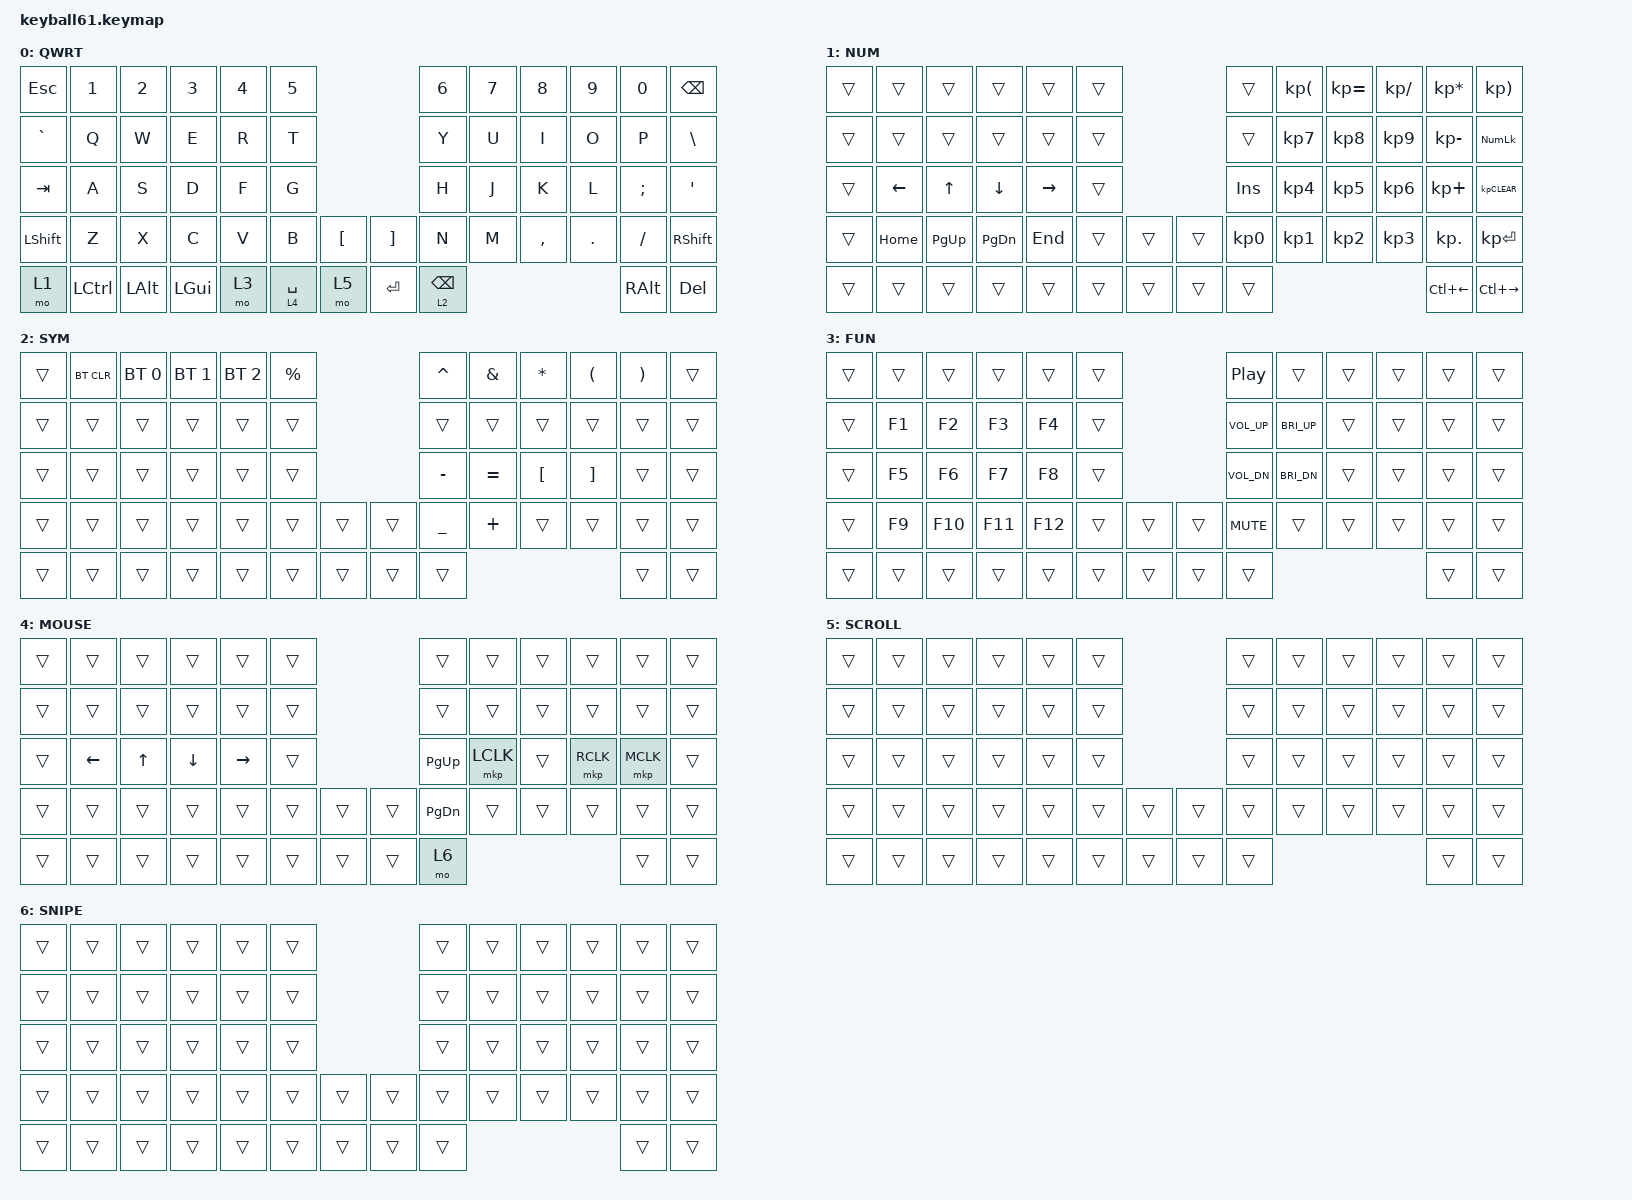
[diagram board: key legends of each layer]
#define DEFAULT 0
#define SYM     1
#define FUN     2
#define MOUSE   3
#define SCROLL  4
#define SNIPE   5

#include <behaviors/mouse_keys.dtsi>
#include <behaviors.dtsi>
#include <dt-bindings/zmk/bt.h>
#include <dt-bindings/zmk/keys.h>
#include <dt-bindings/zmk/mouse.h>

&lt {
    tapping-term-ms = <240>;
    flavor = "balanced";
    quick-tap-ms = <150>;
};

&mt {
    tapping-term-ms = <200>;
    flavor = "tap-preferred";
    quick-tap-ms = <150>;
};

/ {
    keymap {
        compatible = "zmk,keymap";

        default_layer {
            label = "QWRT";
            bindings = <
&kp ESC         &kp N1     &kp N2        &kp N3        &kp N4  &kp N5                                            &kp N6           &kp N7  &kp N8     &kp N9   &kp N0         &kp BSPC
&kp GRAVE       &kp Q      &kp W         &kp E         &kp R   &kp T                                             &kp Y            &kp U   &kp I      &kp O    &kp P          &kp BACKSLASH
&kp TAB         &kp A      &kp S         &kp D         &kp F   &kp G                                             &kp H            &kp J   &kp K      &kp L    &kp SEMI       &kp SQT
&kp LEFT_SHIFT  &kp Z      &kp X         &kp C         &kp V   &kp B        &kp LEFT_BRACKET  &kp RIGHT_BRACKET  &kp N            &kp M   &kp COMMA  &kp DOT  &kp FSLH       &kp RIGHT_SHIFT
&mo 1           &kp LCTRL  &kp LEFT_ALT  &kp LEFT_GUI  &mo 3   &lt 4 SPACE  &mo 5             &kp ENTER          &lt 2 BACKSPACE                              &kp RIGHT_ALT  &kp DELETE
            >;
        };

        number_layer {
            bindings = <
&trans  &trans    &trans     &trans     &trans     &trans                  &trans     &kp KP_LPAR  &kp KP_EQUAL  &kp KP_DIVIDE  &kp KP_MULTIPLY  &kp KP_RPAR
&trans  &trans    &trans     &trans     &trans     &trans                  &trans     &kp KP_N7    &kp KP_N8     &kp KP_N9      &kp KP_MINUS     &kp KP_NUM
&trans  &kp LEFT  &kp UP     &kp DOWN   &kp RIGHT  &trans                  &kp INS    &kp KP_N4    &kp KP_N5     &kp KP_N6      &kp KP_PLUS      &kp KP_CLEAR
&trans  &kp HOME  &kp PG_UP  &kp PG_DN  &kp END    &trans  &trans  &trans  &kp KP_N0  &kp KP_N1    &kp KP_N2     &kp KP_N3      &kp KP_DOT       &kp KP_ENTER
&trans  &trans    &trans     &trans     &trans     &trans  &trans  &trans  &trans                                               &kp LC(LEFT)     &kp LC(RIGHT)
            >;

            label = "NUM";
        };

        symbol_layer {
            label = "SYM";
            bindings = <
&trans  &bt BT_CLR       &bt BT_SEL 0  &bt BT_SEL 1  &bt BT_SEL 2  &kp PERCENT                  &kp CARET       &kp AMPERSAND  &kp ASTERISK      &kp LEFT_PARENTHESIS  &kp RIGHT_PARENTHESIS  &trans
&trans  &trans           &trans        &trans        &trans        &trans                       &trans          &trans         &trans            &trans                &trans                 &trans
&trans  &trans           &trans        &trans        &trans        &trans                       &kp MINUS       &kp EQUAL      &kp LEFT_BRACKET  &kp RIGHT_BRACKET     &trans                 &trans
&trans  &trans           &trans        &trans        &trans        &trans       &trans  &trans  &kp UNDERSCORE  &kp PLUS       &trans            &trans                &trans                 &trans
&trans  &trans           &trans        &trans        &trans        &trans       &trans  &trans  &trans                                                                 &trans                 &trans
            >;
        };

        function_layer {
            label = "FUN";
            bindings = <
&trans  &trans  &trans   &trans   &trans   &trans                  &kp C_PP      &trans        &trans  &trans  &trans  &trans
&trans  &kp F1  &kp F2   &kp F3   &kp F4   &trans                  &kp C_VOL_UP  &kp C_BRI_UP  &trans  &trans  &trans  &trans
&trans  &kp F5  &kp F6   &kp F7   &kp F8   &trans                  &kp C_VOL_DN  &kp C_BRI_DN  &trans  &trans  &trans  &trans
&trans  &kp F9  &kp F10  &kp F11  &kp F12  &trans  &trans  &trans  &kp C_MUTE    &trans        &trans  &trans  &trans  &trans
&trans  &trans  &trans   &trans   &trans   &trans  &trans  &trans  &trans                                      &trans  &trans
            >;
        };

        mouse_layer {
            label = "MOUSE";
            bindings = <
&trans  &trans    &trans    &trans    &trans     &trans                  &trans         &trans     &trans  &trans     &trans     &trans
&trans  &trans    &trans    &trans    &trans     &trans                  &trans         &trans     &trans  &trans     &trans     &trans
&trans  &kp LEFT  &kp UP    &kp DOWN  &kp RIGHT  &trans                  &kp PAGE_UP    &mkp LCLK  &trans  &mkp RCLK  &mkp MCLK  &trans
&trans  &trans    &trans    &trans    &trans     &trans  &trans  &trans  &kp PAGE_DOWN  &trans     &trans  &trans     &trans     &trans
&trans  &trans    &trans    &trans    &trans     &trans  &trans  &trans  &mo 6                                        &trans     &trans
            >;
        };

        scroll_layer {
            label = "SCROLL";
            bindings = <
&trans  &trans  &trans  &trans  &trans  &trans                  &trans  &trans  &trans  &trans  &trans  &trans
&trans  &trans  &trans  &trans  &trans  &trans                  &trans  &trans  &trans  &trans  &trans  &trans
&trans  &trans  &trans  &trans  &trans  &trans                  &trans  &trans  &trans  &trans  &trans  &trans
&trans  &trans  &trans  &trans  &trans  &trans  &trans  &trans  &trans  &trans  &trans  &trans  &trans  &trans
&trans  &trans  &trans  &trans  &trans  &trans  &trans  &trans  &trans                          &trans  &trans
            >;
        };

        snipe_layer {
            label = "SNIPE";
            bindings = <
&trans  &trans  &trans  &trans  &trans  &trans                  &trans  &trans  &trans  &trans  &trans  &trans
&trans  &trans  &trans  &trans  &trans  &trans                  &trans  &trans  &trans  &trans  &trans  &trans
&trans  &trans  &trans  &trans  &trans  &trans                  &trans  &trans  &trans  &trans  &trans  &trans
&trans  &trans  &trans  &trans  &trans  &trans  &trans  &trans  &trans  &trans  &trans  &trans  &trans  &trans
&trans  &trans  &trans  &trans  &trans  &trans  &trans  &trans  &trans                          &trans  &trans
            >;
        };
    };
};
